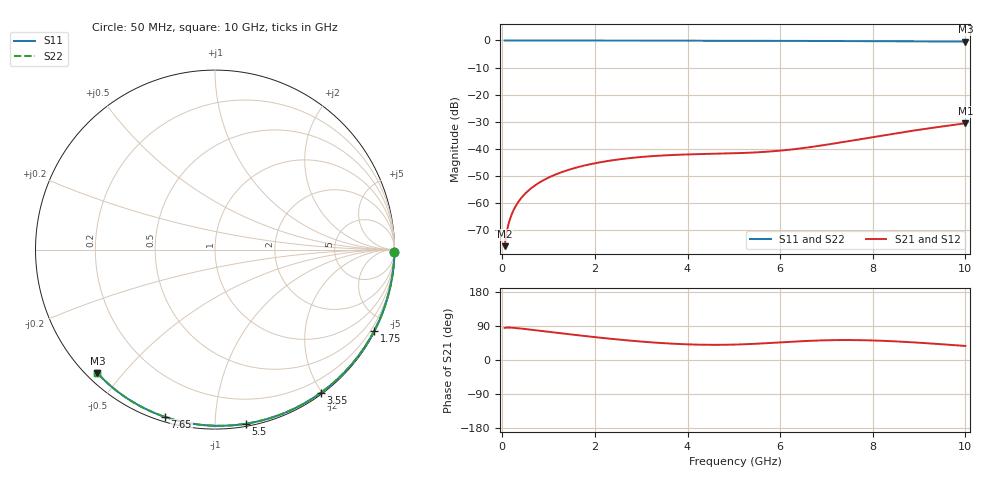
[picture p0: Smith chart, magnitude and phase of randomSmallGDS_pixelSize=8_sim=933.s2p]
! freq	dB(S11)	phase(S11)	dB(S12)	phase(S12)
!  dB(S21)	phase(S21)	dB(S22)	phase(S22)
!S-par simulation data
#  GHz  S  DB  R 50
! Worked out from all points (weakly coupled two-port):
!   200 points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, 50 MHz to 10 GHz, reference 50 ohm
!   highest |S21| = -30.59 dB at 10 GHz (marker M1); lowest = -75.9 dB at 50 MHz (marker M2)
!   lowest |S11| = -0.4 dB at 10 GHz (marker M3), VSWR 39.17, Z = 1.51 - j21.4 ohm
!   |S11| at or under -10 dB: nowhere
!   |S22| runs from -0.4 to 0.0 dB; largest |S21 - S12| = 0
!   S11 on the Smith chart (normalised r, x): 50 MHz: open; 1.75 GHz: 0.04, -4.16; 3.55 GHz: 0.02, -1.99; 5.5 GHz: 0.02, -1.19; 7.65 GHz: 0.02, -0.75; 10 GHz: 0.03, -0.43
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0.05  -0.00 -0.8  -75.95 84.7  -75.95 84.7  -0.00 -0.8
0.1  -0.00 -1.6  -70.23 85.5  -70.23 85.5  -0.00 -1.6
0.15  -0.00 -2.4  -66.79 85.6  -66.79 85.6  -0.00 -2.4
0.2  -0.00 -3.1  -64.32 85.3  -64.32 85.3  -0.00 -3.1
0.25  -0.00 -3.9  -62.41 84.9  -62.41 84.9  -0.00 -3.9
0.35  -0.00 -5.5  -59.51 83.7  -59.51 83.7  -0.00 -5.5
0.5  -0.01 -7.8  -56.45 81.7  -56.45 81.7  -0.01 -7.8
0.7  -0.01 -10.9  -53.59 78.8  -53.59 78.8  -0.01 -10.9
1  -0.02 -15.6  -50.62 74.4  -50.62 74.4  -0.02 -15.6
1.35  -0.03 -20.9  -48.21 69.3  -48.21 69.3  -0.03 -20.9
1.75  -0.03 -27.0  -46.27 63.7  -46.27 63.7  -0.03 -27.0
2.5  -0.05 -38.2  -43.94 54.1  -43.94 54.1  -0.05 -38.2
3.4  -0.07 -51.3  -42.52 45.0  -42.52 45.0  -0.07 -51.3
3.55  -0.07 -53.4  -42.38 43.9  -42.38 43.9  -0.07 -53.4
4.3  -0.09 -63.9  -41.94 40.3  -41.94 40.3  -0.09 -63.9
5.05  -0.11 -74.0  -41.63 40.8  -41.63 40.8  -0.11 -74.0
5.5  -0.13 -80.0  -41.31 43.0  -41.31 43.0  -0.13 -80.0
6.05  -0.15 -87.0  -40.60 46.8  -40.60 46.8  -0.15 -87.0
6.7  -0.18 -95.1  -39.26 50.9  -39.26 50.9  -0.18 -95.1
7.65  -0.24 -106.6  -36.67 52.5  -36.67 52.5  -0.24 -106.6
8.35  -0.29 -114.8  -34.70 50.0  -34.70 50.0  -0.29 -114.8
10  -0.44 -133.6  -30.59 37.1  -30.59 37.1  -0.44 -133.6
